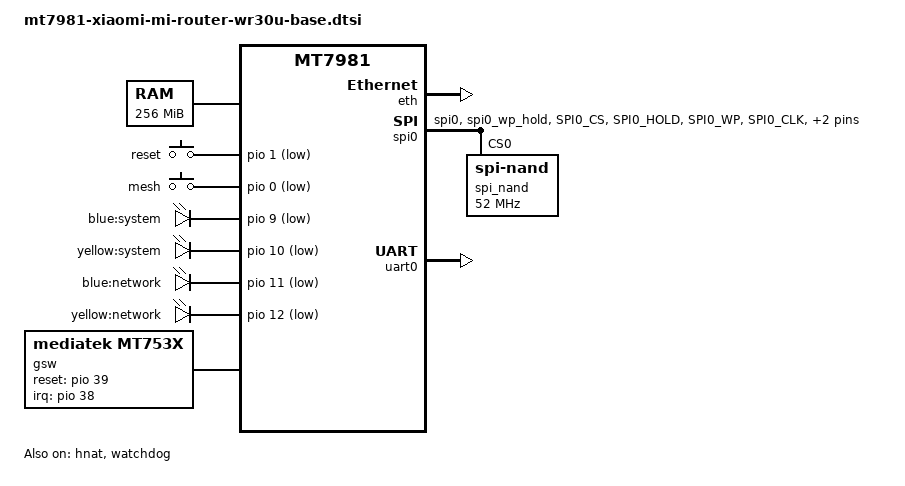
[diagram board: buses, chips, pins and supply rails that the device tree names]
// SPDX-License-Identifier: GPL-2.0-or-later OR MIT

/dts-v1/;
#include <dt-bindings/input/input.h>
#include <dt-bindings/gpio/gpio.h>

#include "mt7981.dtsi"

/ {
	aliases {
		serial0 = &uart0;
		led-boot = &led_system_yellow;
		led-failsafe = &led_system_yellow;
		led-running = &led_system_blue;
		led-upgrade = &led_system_yellow;
	};

	chosen {
		bootargs = "console=ttyS0,115200n1 loglevel=8 earlycon=uart8250,mmio32,0x11002000";
	};

	memory {
		reg = <0 0x40000000 0 0x10000000>;
	};

	gpio-keys {
		compatible = "gpio-keys";

		reset {
			label = "reset";
			gpios = <&pio 1 GPIO_ACTIVE_LOW>;
			linux,code = <KEY_RESTART>;
		};

		mesh {
			label = "mesh";
			gpios = <&pio 0 GPIO_ACTIVE_LOW>;
			linux,code = <BTN_9>;
			linux,input-type = <EV_SW>;
		};
	};

	leds {
		compatible = "gpio-leds";

		led_system_blue: system_blue {
			label = "blue:system";
			gpios = <&pio 9 GPIO_ACTIVE_LOW>;
		};

		led_system_yellow: system_yellow {
			label = "yellow:system";
			gpios = <&pio 10 GPIO_ACTIVE_LOW>;
		};

		led_network_blue {
			label = "blue:network";
			gpios = <&pio 11 GPIO_ACTIVE_LOW>;
		};

		led_network_yellow {
			label = "yellow:network";
			gpios = <&pio 12 GPIO_ACTIVE_LOW>;
		};
	};

	gsw: gsw@0 {
		compatible = "mediatek,mt753x";
		mediatek,ethsys = <&ethsys>;
		#address-cells = <1>;
		#size-cells = <0>;
	};

	nmbm_spim_nand: nmbm_spim_nand {
		compatible = "generic,nmbm";

		#address-cells = <1>;
		#size-cells = <1>;

		lower-mtd-device = <&spi_nand>;
		forced-create;
	};
};

&eth {
	status = "okay";

	gmac0: mac@0 {
		compatible = "mediatek,eth-mac";
		reg = <0>;
		phy-mode = "2500base-x";

		fixed-link {
			speed = <2500>;
			full-duplex;
			pause;
		};
	};

	gmac1: mac@1 {
		compatible = "mediatek,eth-mac";
		reg = <1>;
		phy-mode = "2500base-x";

		fixed-link {
			speed = <2500>;
			full-duplex;
			pause;
		};
	};

	mdio: mdio-bus {
		#address-cells = <1>;
		#size-cells = <0>;
	};
};

&gsw {
	mediatek,mdio = <&mdio>;
	mediatek,mdio_master_pinmux = <0>;
	reset-gpios = <&pio 39 0>;
	interrupt-parent = <&pio>;
	interrupts = <38 IRQ_TYPE_LEVEL_HIGH>;
	status = "okay";

	port5: port@5 {
		compatible = "mediatek,mt753x-port";
		reg = <5>;
		phy-mode = "sgmii";

		fixed-link {
			speed = <2500>;
			full-duplex;
		};
	};

	port6: port@6 {
		compatible = "mediatek,mt753x-port";
		mediatek,ssc-on;
		reg = <6>;
		phy-mode = "sgmii";

		fixed-link {
			speed = <2500>;
			full-duplex;
		};
	};
};

&hnat {
	mtketh-wan = "eth1";
	mtketh-lan = "eth0";
	mtketh-max-gmac = <2>;
	status = "okay";
};

&spi0 {
	pinctrl-names = "default";
	pinctrl-0 = <&spi0_flash_pins>;
	status = "okay";

	spi_nand: flash@0 {
		#address-cells = <1>;
		#size-cells = <1>;
		compatible = "spi-nand";
		reg = <0>;

		spi-max-frequency = <52000000>;
		spi-tx-bus-width = <4>;
		spi-rx-bus-width = <4>;
	};
};

&nmbm_spim_nand {
		partitions: partitions {
			compatible = "fixed-partitions";
			#address-cells = <1>;
			#size-cells = <1>;

			partition@0 {
				label = "BL2";
				reg = <0x00 0x100000>;
			};

			partition@100000 {
				label = "Nvram";
				reg = <0x100000 0x40000>;
			};

			partition@140000 {
				label = "Bdata";
				reg = <0x140000 0x40000>;
			};

			partition@180000 {
				label = "Factory";
				reg = <0x180000 0x200000>;
			};

			partition@380000 {
				label = "FIP";
				reg = <0x380000 0x200000>;
			};

			partition@580000 {
				label = "crash";
				reg = <0x580000 0x40000>;
			};

			partition@5c0000 {
				label = "crash_log";
				reg = <0x5c0000 0x40000>;
			};

			partition@7600000 {
				label = "KF";
				reg = <0x7600000 0x40000>;
			};
		};
};

&pio {
	spi0_flash_pins: spi0-pins {
		mux {
			function = "spi";
			groups = "spi0", "spi0_wp_hold";
		};

		conf-pu {
			pins = "SPI0_CS", "SPI0_HOLD", "SPI0_WP";
			drive-strength = <MTK_DRIVE_8mA>;
			bias-pull-up = <MTK_PUPD_SET_R1R0_11>;
		};

		conf-pd {
			pins = "SPI0_CLK", "SPI0_MOSI", "SPI0_MISO";
			drive-strength = <MTK_DRIVE_8mA>;
			bias-pull-down = <MTK_PUPD_SET_R1R0_11>;
		};
	};
};

&uart0 {
	status = "okay";
};

&watchdog {
	status = "okay";
};
